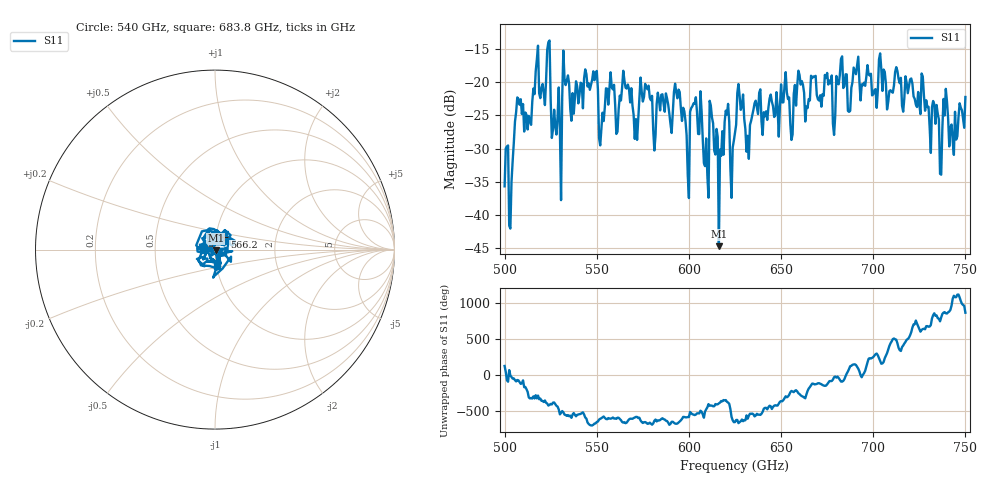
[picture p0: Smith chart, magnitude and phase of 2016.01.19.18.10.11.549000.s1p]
!Created with skrf (http://scikit-rf.org).
# GHz S RI R 50.0
!freq ReS11 ImS11
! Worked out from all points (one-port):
!   401 points, 500 GHz to 750 GHz, reference 50 ohm
!   lowest |S11| = -44.7 dB at 616.2 GHz (marker M1), VSWR 1.01, Z = 50.5 - j0.354 ohm
!   |S11| at or under -10 dB: start of sweep to end of sweep
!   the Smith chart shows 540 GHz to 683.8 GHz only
!   S11 on the Smith chart (normalised r, x): 540 GHz: 0.87, +0.03; 566.2 GHz: 1.10, +0.16; 683.8 GHz: 1.01, -0.18
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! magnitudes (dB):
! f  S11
! 500 GHz  -35.7
! 503.8 GHz  -34.9
! 506.9 GHz  -22.3
! 513.1 GHz  -25.1
! 516.9 GHz  -18.3
! 531.2 GHz  -22.2
! 533.1 GHz  -20.4
! 540 GHz  -23.2
! 549.4 GHz  -18.5
! 552.5 GHz  -27.1
! 556.2 GHz  -23.4
! 562.5 GHz  -22.0
! 566.2 GHz  -20.9
! 571.2 GHz  -25.5
! 593.8 GHz  -22.4
! 598.8 GHz  -28.0
! 602.5 GHz  -23.2
! 609.4 GHz  -28.5
! 612.5 GHz  -25.3
! 616.2 GHz  -44.7
! 625 GHz  -27.6
! 656.2 GHz  -27.9
! 683.8 GHz  -20.9
! 687.5 GHz  -24.3
! 690.6 GHz  -18.8
! 718.8 GHz  -21.6
! 736.2 GHz  -33.8
! 750 GHz  -22.2
